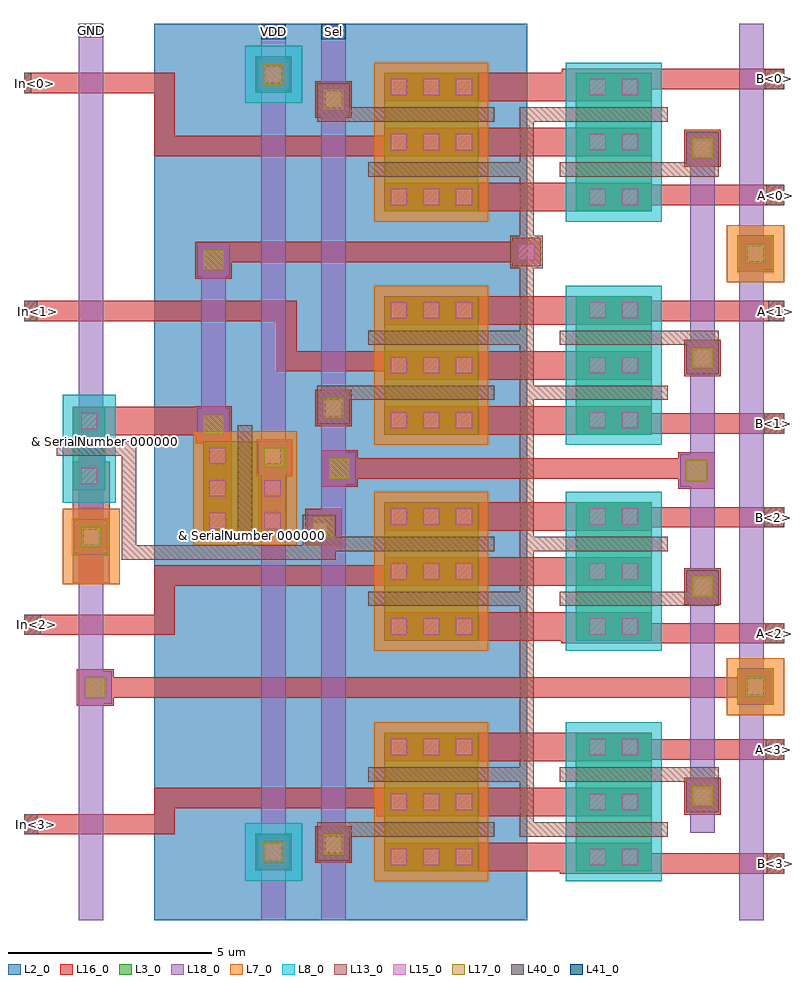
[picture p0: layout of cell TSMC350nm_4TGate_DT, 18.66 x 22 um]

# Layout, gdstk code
from math import pi, radians
import gdstk
lib = gdstk.Library(unit=1e-6, precision=1e-09)
def R(c, l, rs):  # rectangles x0, y0, x1, y1
    for r in rs: c.add(gdstk.rectangle(r[:2], r[2:], *l))
def A(c, l, x, y, w, h, nx, ny, dx, dy):  # array of equal rectangles
    R(c, l, [(x+i*dx, y+j*dy, x+i*dx+w, y+j*dy+h) for i in range(nx) for j in range(ny)])
L2_0 = (2, 0)
L3_0 = (3, 0)
L7_0 = (7, 0)
L8_0 = (8, 0)
L13_0 = (13, 0)
L15_0 = (15, 0)
L16_0 = (16, 0)
L17_0 = (17, 0)
L18_0 = (18, 0)
L40_0 = (40, 0)
L41_0 = (41, 0)

nch_cdns_739733215070 = lib.new_cell('nch_CDNS_739733215070')
A(nch_cdns_739733215070, L3_0, -0.85, 0, 0.7, 1.86, 3, 1, 1.35, 0)
R(nch_cdns_739733215070, L3_0, [(-0.85,0,-0.15,1.86), (-0.15,0,0.5,1.86), (1.2,0,1.85,1.86), (1.85,0,2.55,1.86)])
R(nch_cdns_739733215070, L8_0, [(-1.1,-0.25,2.8,2.11)])
R(nch_cdns_739733215070, L13_0, [(0,-0.4,0.35,2.26), (1.35,-0.4,1.7,2.26)])
A(nch_cdns_739733215070, L15_0, -0.7, 0.33, 0.4, 0.4, 3, 2, 1.35, 0.8)
A(nch_cdns_739733215070, L16_0, -0.85, 0, 0.7, 1.86, 3, 1, 1.35, 0)
nch_cdns_739733215070.add(gdstk.Label('D', (0.85,0.93), layer=59, texttype=0))
nch_cdns_739733215070.add(gdstk.Label('S', (-0.5,0.93), layer=59, texttype=0))
nch_cdns_739733215070.add(gdstk.Label('S', (2.2,0.93), layer=59, texttype=0))
nch_cdns_739733215070.add(gdstk.Label('G', (1.525,0.93), layer=59, texttype=0))
nch_cdns_739733215070.add(gdstk.Label('G', (0.175,0.93), layer=59, texttype=0))
nch_cdns_739733215070.add(gdstk.Label('& SerialNumber 000000', (0,0), layer=16, texttype=0))
nch_cdns_739733215070.add(gdstk.Label('& Distributor VIS', (0,0), layer=16, texttype=0))
nch_cdns_739733215070.add(gdstk.Label('& Metric 1', (0,0), layer=16, texttype=0))
nch_cdns_739733215070.add(gdstk.Label('& Version    \t  1.7A', (0,0), layer=16, texttype=0))
nch_cdns_739733215070.add(gdstk.Label('& PDKName     vis35cv', (0,0), layer=16, texttype=0))
nch_cdns_739733215070.add(gdstk.Label('& Vendor VIS Corp.', (0,0), layer=16, texttype=0))
nch_cdns_739733215070.add(gdstk.Label('& SerialNumber 000000', (0,0), layer=63, texttype=63))
nch_cdns_739733215070.add(gdstk.Label('& Distributor VIS', (0,0), layer=63, texttype=63))
nch_cdns_739733215070.add(gdstk.Label('& Metric 1', (0,0), layer=63, texttype=63))
nch_cdns_739733215070.add(gdstk.Label('& Version    \t  1.7A', (0,0), layer=63, texttype=63))
nch_cdns_739733215070.add(gdstk.Label('& PDKName     vis35cv', (0,0), layer=63, texttype=63))
nch_cdns_739733215070.add(gdstk.Label('& Vendor VIS Corp.', (0,0), layer=63, texttype=63))

pch_cdns_739733215071 = lib.new_cell('pch_CDNS_739733215071')
R(pch_cdns_739733215071, L2_0, [(-2.05,-1.2,3.75,3.5)])
A(pch_cdns_739733215071, L3_0, -0.85, 0, 0.7, 2.3, 3, 1, 1.35, 0)
R(pch_cdns_739733215071, L3_0, [(-0.85,0,-0.15,2.3), (-0.15,0,0.5,2.3), (1.2,0,1.85,2.3), (1.85,0,2.55,2.3)])
R(pch_cdns_739733215071, L7_0, [(-1.1,-0.25,2.8,2.55)])
R(pch_cdns_739733215071, L13_0, [(0,-0.4,0.35,2.7), (1.35,-0.4,1.7,2.7)])
A(pch_cdns_739733215071, L15_0, -0.7, 0.15, 0.4, 0.4, 3, 3, 1.35, 0.8)
A(pch_cdns_739733215071, L16_0, -0.85, 0, 0.7, 2.3, 3, 1, 1.35, 0)
pch_cdns_739733215071.add(gdstk.Label('D', (0.85,1.15), layer=59, texttype=0))
pch_cdns_739733215071.add(gdstk.Label('S', (-0.5,1.15), layer=59, texttype=0))
pch_cdns_739733215071.add(gdstk.Label('S', (2.2,1.15), layer=59, texttype=0))
pch_cdns_739733215071.add(gdstk.Label('G', (1.525,1.15), layer=59, texttype=0))
pch_cdns_739733215071.add(gdstk.Label('G', (0.175,1.15), layer=59, texttype=0))
pch_cdns_739733215071.add(gdstk.Label('& SerialNumber 000000', (0,0), layer=16, texttype=0))
pch_cdns_739733215071.add(gdstk.Label('& Distributor VIS', (0,0), layer=16, texttype=0))
pch_cdns_739733215071.add(gdstk.Label('& Metric 1', (0,0), layer=16, texttype=0))
pch_cdns_739733215071.add(gdstk.Label('& Version    \t  1.7A', (0,0), layer=16, texttype=0))
pch_cdns_739733215071.add(gdstk.Label('& PDKName     vis35cv', (0,0), layer=16, texttype=0))
pch_cdns_739733215071.add(gdstk.Label('& Vendor VIS Corp.', (0,0), layer=16, texttype=0))
pch_cdns_739733215071.add(gdstk.Label('& SerialNumber 000000', (0,0), layer=63, texttype=63))
pch_cdns_739733215071.add(gdstk.Label('& Distributor VIS', (0,0), layer=63, texttype=63))
pch_cdns_739733215071.add(gdstk.Label('& Metric 1', (0,0), layer=63, texttype=63))
pch_cdns_739733215071.add(gdstk.Label('& Version    \t  1.7A', (0,0), layer=63, texttype=63))
pch_cdns_739733215071.add(gdstk.Label('& PDKName     vis35cv', (0,0), layer=63, texttype=63))
pch_cdns_739733215071.add(gdstk.Label('& Vendor VIS Corp.', (0,0), layer=63, texttype=63))

m1_poly1_cdns_7397332150 = lib.new_cell('M1_POLY1_CDNS_739733215070')
R(m1_poly1_cdns_7397332150, L13_0, [(-0.4,-0.4,0.4,0.4)])
R(m1_poly1_cdns_7397332150, L15_0, [(-0.2,-0.2,0.2,0.2)])
R(m1_poly1_cdns_7397332150, L16_0, [(-0.35,-0.35,0.35,0.35)])

m2_m1_cdns_739733215071 = lib.new_cell('M2_M1_CDNS_739733215071')
R(m2_m1_cdns_739733215071, L16_0, [(-0.45,-0.45,0.45,0.45)])
R(m2_m1_cdns_739733215071, L17_0, [(-0.25,-0.25,0.25,0.25)])
R(m2_m1_cdns_739733215071, L18_0, [(-0.4,-0.4,0.4,0.4)])

c_m1_poly1_cdns_7397332150 = lib.new_cell('M1_POLY1_CDNS_739733215072')
R(c_m1_poly1_cdns_7397332150, L13_0, [(-0.4,-0.4,0.4,0.4)])
R(c_m1_poly1_cdns_7397332150, L15_0, [(-0.2,-0.2,0.2,0.2)])
R(c_m1_poly1_cdns_7397332150, L16_0, [(-0.45,-0.45,0.45,0.45)])

m1_nactive_cdns_73973321 = lib.new_cell('M1_NACTIVE_CDNS_739733215073')
R(m1_nactive_cdns_73973321, L3_0, [(-0.45,-0.45,0.45,0.45)])
R(m1_nactive_cdns_73973321, L8_0, [(-0.7,-0.7,0.7,0.7)])
R(m1_nactive_cdns_73973321, L15_0, [(-0.2,-0.2,0.2,0.2)])
R(m1_nactive_cdns_73973321, L16_0, [(-0.35,-0.35,0.35,0.35)])

m1_pactive_cdns_73973321 = lib.new_cell('M1_PACTIVE_CDNS_739733215074')
R(m1_pactive_cdns_73973321, L3_0, [(-0.45,-0.45,0.45,0.45)])
R(m1_pactive_cdns_73973321, L7_0, [(-0.7,-0.7,0.7,0.7)])
R(m1_pactive_cdns_73973321, L15_0, [(-0.2,-0.2,0.2,0.2)])
R(m1_pactive_cdns_73973321, L16_0, [(-0.35,-0.35,0.35,0.35)])

tsmc350nm_4tgate_dt = lib.new_cell('TSMC350nm_4TGate_DT')
R(tsmc350nm_4tgate_dt, L2_0, [(3.2,0,7.65,8.25), (3.2,8.25,7.65,13.75), (3.2,13.75,7.65,22)])
R(tsmc350nm_4tgate_dt, L3_0, [(1.2,8.95,2.1,9.85), (4.4,9.45,5.1,11.75), (4.4,9.45,5.1,11.75), (5.1,9.45,5.75,11.75), (5.75,9.45,6.45,11.75), (5.75,9.45,6.45,11.75), (1.2,10.55,2,11.25), (1.2,10.55,2,11.25), (1.2,11.25,2,11.9), (1.2,11.9,2,12.6), (1.2,11.9,2,12.6)])
R(tsmc350nm_4tgate_dt, L7_0, [(0.95,8.25,2.35,10.1), (4.15,9.2,6.7,12)])
R(tsmc350nm_4tgate_dt, L8_0, [(0.95,10.25,2.25,12.9)])
R(tsmc350nm_4tgate_dt, L13_0, [(7.2,2.05,8,2.4), (8,2.05,8.45,2.4), (12.17,2.05,12.52,18.6), (12.35,2.05,13.15,2.4), (11.55,3.4,12.17,3.75), (15.81,3.4,16.26,3.75), (16.26,3.4,17.06,3.75), (11.55,7.71,12.17,8.06), (15.81,7.71,16.26,8.06), (16.26,7.71,17.06,7.98), (2.4,8.85,2.75,11.75), (2.4,8.85,7.65,9.2), (5.25,9.05,5.6,12.15), (7.65,9.06,8.45,9.41), (12.35,9.06,13.15,9.41), (0.8,11.4,2.4,11.75), (7.2,12.77,8.45,13.12), (12.35,12.77,13.15,13.12), (11.55,14.12,12.17,14.47), (15.81,14.12,16.26,14.47), (16.26,14.2,17.06,14.47), (11.55,18.25,12.52,18.6), (15.81,18.25,16.26,18.6), (16.26,18.25,17.06,18.55), (12.17,18.6,12.52,19.95), (7.2,19.6,8.45,19.95), (12.52,19.6,13.15,19.95)])
A(tsmc350nm_4tgate_dt, L15_0, 4.55, 9.6, 0.4, 0.4, 1, 3, 0, 0.8)
A(tsmc350nm_4tgate_dt, L15_0, 5.9, 9.6, 0.4, 0.4, 1, 3, 0, 0.8)
R(tsmc350nm_4tgate_dt, L15_0, [(1.45,9.2,1.85,9.6), (1.4,10.7,1.8,11.1), (1.4,12.05,1.8,12.45)])
R(tsmc350nm_4tgate_dt, L16_0, [(1.2,8.27,2.1,11.25), (4.4,9.45,5.1,11.75), (4.4,9.45,5.1,12.5), (5.75,9.45,6.45,11.75), (1.2,10.55,2,11.25), (1.2,11.9,5.1,12.6), (1.2,11.9,2,12.6)])
R(tsmc350nm_4tgate_dt, L40_0, [(18.24,1.14,18.66,1.64), (0,2.1,0.34,2.6), (18.21,3.94,18.66,4.44), (18.2,6.79,18.66,7.29), (0,7,0.41,7.5), (18.17,9.64,18.66,10.14), (18.17,11.94,18.66,12.44), (0,14.7,0.33,15.2), (18.27,14.7,18.66,15.2), (18.22,17.55,18.66,18.05), (0,20.3,0.18,20.8), (18.19,20.4,18.66,20.89)])
R(tsmc350nm_4tgate_dt, L41_0, [(7.3,21.62,7.9,22), (5.83,21.63,6.43,22), (1.35,21.68,1.95,22)])
tsmc350nm_4tgate_dt.add(gdstk.FlexPath([(17.45,12.19),(18.66,12.19)], 0.5, ends="flush", simple_path=True, layer=16, datatype=0))  # L16_0
tsmc350nm_4tgate_dt.add(gdstk.FlexPath([(3.45,3),(8.85,3)], 0.5, ends=(0.25, 0), simple_path=True, layer=16, datatype=0))  # L16_0
tsmc350nm_4tgate_dt.add(gdstk.FlexPath([(3.45,2.35),(3.45,3)], 0.5, ends="extended", simple_path=True, layer=16, datatype=0))  # L16_0
tsmc350nm_4tgate_dt.add(gdstk.FlexPath([(0,2.35),(3.45,2.35)], 0.5, ends=(0, 0.25), simple_path=True, layer=16, datatype=0))  # L16_0
tsmc350nm_4tgate_dt.add(gdstk.FlexPath([(3.45,8.46),(8.85,8.46)], 0.5, ends=(0.25, 0), simple_path=True, layer=16, datatype=0))  # L16_0
tsmc350nm_4tgate_dt.add(gdstk.FlexPath([(3.45,7.25),(3.45,8.46)], 0.5, ends="extended", simple_path=True, layer=16, datatype=0))  # L16_0
tsmc350nm_4tgate_dt.add(gdstk.FlexPath([(3.45,19),(8.85,19)], 0.5, ends=(0.25, 0), simple_path=True, layer=16, datatype=0))  # L16_0
tsmc350nm_4tgate_dt.add(gdstk.FlexPath([(3.45,20.55),(3.45,19)], 0.5, ends="extended", simple_path=True, layer=16, datatype=0))  # L16_0
tsmc350nm_4tgate_dt.add(gdstk.FlexPath([(6.45,15.2),(6.45,13.72)], 0.5, ends=(0, 0.25), simple_path=True, layer=16, datatype=0))  # L16_0
tsmc350nm_4tgate_dt.add(gdstk.FlexPath([(0,14.95),(5.96,14.95)], 0.5, ends=(0, 0.25), simple_path=True, layer=16, datatype=0))  # L16_0
tsmc350nm_4tgate_dt.add(gdstk.FlexPath([(12.52,16.4),(4.86,16.4)], 0.5, ends="flush", simple_path=True, layer=16, datatype=0))  # L16_0
tsmc350nm_4tgate_dt.add(gdstk.FlexPath([(6.45,13.72),(8.85,13.72)], 0.5, ends=(0.25, 0), simple_path=True, layer=16, datatype=0))  # L16_0
tsmc350nm_4tgate_dt.add(gdstk.FlexPath([(0,20.55),(3.45,20.55)], 0.5, ends=(0, 0.25), simple_path=True, layer=16, datatype=0))  # L16_0
tsmc350nm_4tgate_dt.add(gdstk.FlexPath([(18.66,9.89),(13.2,9.89)], 0.5, ends="flush", simple_path=True, layer=16, datatype=0))  # L16_0
tsmc350nm_4tgate_dt.add(gdstk.FlexPath([(16.41,11.09),(7.32,11.09)], 0.5, ends="flush", simple_path=True, layer=16, datatype=0))  # L16_0
tsmc350nm_4tgate_dt.add(gdstk.FlexPath([(17.96,12.19),(13.2,12.19)], 0.5, ends="flush", simple_path=True, layer=16, datatype=0))  # L16_0
tsmc350nm_4tgate_dt.add(gdstk.FlexPath([(18.66,1.39),(13.16,1.39)], 0.5, ends="flush", simple_path=True, layer=16, datatype=0))  # L16_0
tsmc350nm_4tgate_dt.add(gdstk.FlexPath([(17.95,5.71),(1.75,5.71)], 0.5, ends="flush", simple_path=True, layer=16, datatype=0))  # L16_0
tsmc350nm_4tgate_dt.add(gdstk.FlexPath([(18.66,20.65),(13.2,20.65)], 0.5, ends="flush", simple_path=True, layer=16, datatype=0))  # L16_0
tsmc350nm_4tgate_dt.add(gdstk.FlexPath([(15.41,1.55),(8.85,1.55)], 0.7, ends="flush", simple_path=True, layer=16, datatype=0))  # L16_0
tsmc350nm_4tgate_dt.add(gdstk.FlexPath([(15.41,4.25),(8.85,4.25)], 0.7, ends="flush", simple_path=True, layer=16, datatype=0))  # L16_0
tsmc350nm_4tgate_dt.add(gdstk.FlexPath([(15.41,2.9),(8.65,2.9)], 0.7, ends="flush", simple_path=True, layer=16, datatype=0))  # L16_0
tsmc350nm_4tgate_dt.add(gdstk.FlexPath([(15.41,7.21),(8.85,7.21)], 0.7, ends="flush", simple_path=True, layer=16, datatype=0))  # L16_0
tsmc350nm_4tgate_dt.add(gdstk.FlexPath([(15.41,9.91),(8.85,9.91)], 0.7, ends="flush", simple_path=True, layer=16, datatype=0))  # L16_0
tsmc350nm_4tgate_dt.add(gdstk.FlexPath([(15.41,8.56),(8.85,8.56)], 0.7, ends="flush", simple_path=True, layer=16, datatype=0))  # L16_0
tsmc350nm_4tgate_dt.add(gdstk.FlexPath([(15.41,12.27),(8.85,12.27)], 0.7, ends="flush", simple_path=True, layer=16, datatype=0))  # L16_0
tsmc350nm_4tgate_dt.add(gdstk.FlexPath([(15.41,14.97),(8.85,14.97)], 0.7, ends="flush", simple_path=True, layer=16, datatype=0))  # L16_0
tsmc350nm_4tgate_dt.add(gdstk.FlexPath([(15.41,13.62),(8.85,13.62)], 0.7, ends="flush", simple_path=True, layer=16, datatype=0))  # L16_0
tsmc350nm_4tgate_dt.add(gdstk.FlexPath([(15.41,17.75),(8.85,17.75)], 0.7, ends="flush", simple_path=True, layer=16, datatype=0))  # L16_0
tsmc350nm_4tgate_dt.add(gdstk.FlexPath([(15.41,20.45),(8.85,20.45)], 0.7, ends="flush", simple_path=True, layer=16, datatype=0))  # L16_0
tsmc350nm_4tgate_dt.add(gdstk.FlexPath([(15.41,19.1),(8.85,19.1)], 0.7, ends="flush", simple_path=True, layer=16, datatype=0))  # L16_0
tsmc350nm_4tgate_dt.add(gdstk.FlexPath([(18.66,17.8),(13.19,17.8)], 0.5, ends="flush", simple_path=True, layer=16, datatype=0))  # L16_0
tsmc350nm_4tgate_dt.add(gdstk.FlexPath([(18.66,4.19),(13.19,4.19)], 0.5, ends="flush", simple_path=True, layer=16, datatype=0))  # L16_0
tsmc350nm_4tgate_dt.add(gdstk.FlexPath([(18.66,7.04),(13.19,7.04)], 0.5, ends="flush", simple_path=True, layer=16, datatype=0))  # L16_0
tsmc350nm_4tgate_dt.add(gdstk.FlexPath([(18.66,14.95),(13.19,14.95)], 0.5, ends="flush", simple_path=True, layer=16, datatype=0))  # L16_0
tsmc350nm_4tgate_dt.add(gdstk.FlexPath([(0,7.25),(3.45,7.25)], 0.5, ends=(0, 0.25), simple_path=True, layer=16, datatype=0))  # L16_0
tsmc350nm_4tgate_dt.add(gdstk.FlexPath([(17.86,22),(17.86,0)], 0.6, ends="flush", simple_path=True, layer=18, datatype=0))  # L18_0
tsmc350nm_4tgate_dt.add(gdstk.FlexPath([(7.6,22),(7.6,0)], 0.6, ends="flush", simple_path=True, layer=18, datatype=0))  # L18_0
tsmc350nm_4tgate_dt.add(gdstk.FlexPath([(1.65,22),(1.65,0)], 0.6, ends="flush", simple_path=True, layer=18, datatype=0))  # L18_0
tsmc350nm_4tgate_dt.add(gdstk.FlexPath([(6.13,22),(6.13,0)], 0.6, ends="flush", simple_path=True, layer=18, datatype=0))  # L18_0
tsmc350nm_4tgate_dt.add(gdstk.FlexPath([(4.65,12.16),(4.65,16.12)], 0.6, ends="flush", simple_path=True, layer=18, datatype=0))  # L18_0
tsmc350nm_4tgate_dt.add(gdstk.FlexPath([(16.66,19.17),(16.66,2.14)], 0.6, ends="flush", simple_path=True, layer=18, datatype=0))  # L18_0
tsmc350nm_4tgate_dt.add(gdstk.Reference(nch_cdns_739733215070, (13.55,2.05), rotation=pi/2, x_reflection=True))
tsmc350nm_4tgate_dt.add(gdstk.Reference(nch_cdns_739733215070, (13.55,7.71), rotation=pi/2, x_reflection=True))
tsmc350nm_4tgate_dt.add(gdstk.Reference(nch_cdns_739733215070, (13.55,12.77), rotation=pi/2, x_reflection=True))
tsmc350nm_4tgate_dt.add(gdstk.Reference(nch_cdns_739733215070, (13.55,18.25), rotation=pi/2, x_reflection=True))
tsmc350nm_4tgate_dt.add(gdstk.Reference(pch_cdns_739733215071, (8.85,2.05), rotation=pi/2, x_reflection=True))
tsmc350nm_4tgate_dt.add(gdstk.Reference(pch_cdns_739733215071, (8.85,7.71), rotation=pi/2, x_reflection=True))
tsmc350nm_4tgate_dt.add(gdstk.Reference(pch_cdns_739733215071, (8.85,18.25), rotation=pi/2, x_reflection=True))
tsmc350nm_4tgate_dt.add(gdstk.Reference(pch_cdns_739733215071, (8.85,12.77), rotation=pi/2, x_reflection=True))
tsmc350nm_4tgate_dt.add(gdstk.Reference(m1_poly1_cdns_7397332150, (12.34,16.4)))
tsmc350nm_4tgate_dt.add(gdstk.Reference(m1_poly1_cdns_7397332150, (7.25,9.55), rotation=pi, x_reflection=True))
tsmc350nm_4tgate_dt.add(gdstk.Reference(m2_m1_cdns_739733215071, (6.13,1.67)))
tsmc350nm_4tgate_dt.add(gdstk.Reference(m2_m1_cdns_739733215071, (6.13,20.76)))
tsmc350nm_4tgate_dt.add(gdstk.Reference(m2_m1_cdns_739733215071, (16.51,11.04)))
tsmc350nm_4tgate_dt.add(gdstk.Reference(m2_m1_cdns_739733215071, (7.75,11.09)))
tsmc350nm_4tgate_dt.add(gdstk.Reference(m2_m1_cdns_739733215071, (17.96,5.73)))
tsmc350nm_4tgate_dt.add(gdstk.Reference(m2_m1_cdns_739733215071, (7.35,9.65)))
tsmc350nm_4tgate_dt.add(gdstk.Reference(m2_m1_cdns_739733215071, (6.15,11.35)))
tsmc350nm_4tgate_dt.add(gdstk.Reference(m2_m1_cdns_739733215071, (17.96,16.36)))
tsmc350nm_4tgate_dt.add(gdstk.Reference(m2_m1_cdns_739733215071, (1.65,9.4)))
tsmc350nm_4tgate_dt.add(gdstk.Reference(m2_m1_cdns_739733215071, (1.75,5.71)))
tsmc350nm_4tgate_dt.add(gdstk.Reference(m2_m1_cdns_739733215071, (7.6,1.85)))
tsmc350nm_4tgate_dt.add(gdstk.Reference(m2_m1_cdns_739733215071, (7.6,12.57)))
tsmc350nm_4tgate_dt.add(gdstk.Reference(m2_m1_cdns_739733215071, (7.6,20.15)))
tsmc350nm_4tgate_dt.add(gdstk.Reference(m2_m1_cdns_739733215071, (16.66,3.04)))
tsmc350nm_4tgate_dt.add(gdstk.Reference(m2_m1_cdns_739733215071, (16.66,8.19)))
tsmc350nm_4tgate_dt.add(gdstk.Reference(m2_m1_cdns_739733215071, (16.66,13.8)))
tsmc350nm_4tgate_dt.add(gdstk.Reference(m2_m1_cdns_739733215071, (16.66,18.95)))
tsmc350nm_4tgate_dt.add(gdstk.Reference(m2_m1_cdns_739733215071, (4.65,16.2)))
tsmc350nm_4tgate_dt.add(gdstk.Reference(m2_m1_cdns_739733215071, (4.65,12.16)))
tsmc350nm_4tgate_dt.add(gdstk.Reference(c_m1_poly1_cdns_7397332150, (7.6,1.85)))
tsmc350nm_4tgate_dt.add(gdstk.Reference(c_m1_poly1_cdns_7397332150, (7.6,12.57)))
tsmc350nm_4tgate_dt.add(gdstk.Reference(c_m1_poly1_cdns_7397332150, (7.6,20.15)))
tsmc350nm_4tgate_dt.add(gdstk.Reference(c_m1_poly1_cdns_7397332150, (16.66,3.04)))
tsmc350nm_4tgate_dt.add(gdstk.Reference(c_m1_poly1_cdns_7397332150, (16.66,8.19)))
tsmc350nm_4tgate_dt.add(gdstk.Reference(c_m1_poly1_cdns_7397332150, (16.66,13.8)))
tsmc350nm_4tgate_dt.add(gdstk.Reference(c_m1_poly1_cdns_7397332150, (16.66,18.95)))
tsmc350nm_4tgate_dt.add(gdstk.Reference(m1_nactive_cdns_73973321, (6.13,1.67)))
tsmc350nm_4tgate_dt.add(gdstk.Reference(m1_nactive_cdns_73973321, (6.13,20.76)))
tsmc350nm_4tgate_dt.add(gdstk.Reference(m1_pactive_cdns_73973321, (17.96,5.73)))
tsmc350nm_4tgate_dt.add(gdstk.Reference(m1_pactive_cdns_73973321, (17.96,16.36)))
tsmc350nm_4tgate_dt.add(gdstk.Label('& SerialNumber 000000', (5.6,9.45), layer=63, texttype=63))
tsmc350nm_4tgate_dt.add(gdstk.Label('& Distributor VIS', (5.6,9.45), layer=63, texttype=63))
tsmc350nm_4tgate_dt.add(gdstk.Label('& Metric 1', (5.6,9.45), layer=63, texttype=63))
tsmc350nm_4tgate_dt.add(gdstk.Label('& Version    \t  1.7A', (5.6,9.45), layer=63, texttype=63))
tsmc350nm_4tgate_dt.add(gdstk.Label('& PDKName     vis35cv', (5.6,9.45), layer=63, texttype=63))
tsmc350nm_4tgate_dt.add(gdstk.Label('& Vendor VIS Corp.', (5.6,9.45), layer=63, texttype=63))
tsmc350nm_4tgate_dt.add(gdstk.Label('& SerialNumber 000000', (2,11.75), layer=63, texttype=63))
tsmc350nm_4tgate_dt.add(gdstk.Label('& Vendor VIS Corp.', (2,11.75), layer=63, texttype=63))
tsmc350nm_4tgate_dt.add(gdstk.Label('& PDKName     vis35cv', (2,11.75), layer=63, texttype=63))
tsmc350nm_4tgate_dt.add(gdstk.Label('& Version    \t  1.7A', (2,11.75), layer=63, texttype=63))
tsmc350nm_4tgate_dt.add(gdstk.Label('& Metric 1', (2,11.75), layer=63, texttype=63))
tsmc350nm_4tgate_dt.add(gdstk.Label('& Distributor VIS', (2,11.75), layer=63, texttype=63))
tsmc350nm_4tgate_dt.add(gdstk.Label('& SerialNumber 000000', (2,11.75), layer=16, texttype=0))
tsmc350nm_4tgate_dt.add(gdstk.Label('& Distributor VIS', (2,11.75), layer=16, texttype=0))
tsmc350nm_4tgate_dt.add(gdstk.Label('& Metric 1', (2,11.75), layer=16, texttype=0))
tsmc350nm_4tgate_dt.add(gdstk.Label('& Version    \t  1.7A', (2,11.75), layer=16, texttype=0))
tsmc350nm_4tgate_dt.add(gdstk.Label('& PDKName     vis35cv', (2,11.75), layer=16, texttype=0))
tsmc350nm_4tgate_dt.add(gdstk.Label('& Vendor VIS Corp.', (2,11.75), layer=16, texttype=0))
tsmc350nm_4tgate_dt.add(gdstk.Label('& SerialNumber 000000', (5.6,9.45), layer=16, texttype=0))
tsmc350nm_4tgate_dt.add(gdstk.Label('& Distributor VIS', (5.6,9.45), layer=16, texttype=0))
tsmc350nm_4tgate_dt.add(gdstk.Label('& Metric 1', (5.6,9.45), layer=16, texttype=0))
tsmc350nm_4tgate_dt.add(gdstk.Label('& Version    \t  1.7A', (5.6,9.45), layer=16, texttype=0))
tsmc350nm_4tgate_dt.add(gdstk.Label('& PDKName     vis35cv', (5.6,9.45), layer=16, texttype=0))
tsmc350nm_4tgate_dt.add(gdstk.Label('& Vendor VIS Corp.', (5.6,9.45), layer=16, texttype=0))
tsmc350nm_4tgate_dt.add(gdstk.Label('A<3>', (18.41,4.19), layer=40, texttype=0))
tsmc350nm_4tgate_dt.add(gdstk.Label('B<3>', (18.44,1.39), layer=40, texttype=0))
tsmc350nm_4tgate_dt.add(gdstk.Label('B<2>', (18.41,9.88), layer=40, texttype=0))
tsmc350nm_4tgate_dt.add(gdstk.Label('A<2>', (18.43,7.04), layer=40, texttype=0))
tsmc350nm_4tgate_dt.add(gdstk.Label('A<1>', (18.46,14.95), layer=40, texttype=0))
tsmc350nm_4tgate_dt.add(gdstk.Label('B<1>', (18.41,12.2), layer=40, texttype=0))
tsmc350nm_4tgate_dt.add(gdstk.Label('B<0>', (18.43,20.65), layer=40, texttype=0))
tsmc350nm_4tgate_dt.add(gdstk.Label('A<0>', (18.44,17.8), layer=40, texttype=0))
tsmc350nm_4tgate_dt.add(gdstk.Label('In<3>', (0.28,2.35), layer=40, texttype=0))
tsmc350nm_4tgate_dt.add(gdstk.Label('In<2>', (0.31,7.25), layer=40, texttype=0))
tsmc350nm_4tgate_dt.add(gdstk.Label('In<1>', (0.34,14.95), layer=40, texttype=0))
tsmc350nm_4tgate_dt.add(gdstk.Label('In<0>', (0.26,20.55), layer=40, texttype=0))
tsmc350nm_4tgate_dt.add(gdstk.Label('Sel', (7.6,21.81), layer=41, texttype=0))
tsmc350nm_4tgate_dt.add(gdstk.Label('VDD', (6.13,21.82), layer=41, texttype=0))
tsmc350nm_4tgate_dt.add(gdstk.Label('GND', (1.65,21.85), layer=41, texttype=0))

lib.write_gds('TSMC350nm_4TGate_DT.gds')
